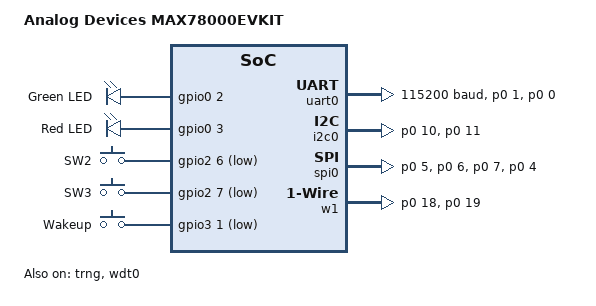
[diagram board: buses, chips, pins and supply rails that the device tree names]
/*
 * Copyright (c) 2025 Analog Devices, Inc.
 *
 * SPDX-License-Identifier: Apache-2.0
 */

/dts-v1/;

#include <adi/max32/max78000.dtsi>
#include <adi/max32/max78000-pinctrl.dtsi>
#include <zephyr/dt-bindings/gpio/adi-max32-gpio.h>
#include <zephyr/dt-bindings/input/input-event-codes.h>

/ {
	model = "Analog Devices MAX78000EVKIT";
	compatible = "adi,max78000evkit";

	chosen {
		zephyr,console = &uart0;
		zephyr,shell-uart = &uart0;
		zephyr,sram = &sram2;
		zephyr,flash = &flash0;
	};

	leds {
		compatible = "gpio-leds";

		led1: led_1 {
			gpios = <&gpio0 2 GPIO_ACTIVE_HIGH>;
			label = "Green LED";
		};

		led2: led_2 {
			gpios = <&gpio0 3 GPIO_ACTIVE_HIGH>;
			label = "Red LED";
		};
	};

	buttons {
		compatible = "gpio-keys";

		pb1: pb1 {
			gpios = <&gpio2 6 (GPIO_PULL_UP | GPIO_ACTIVE_LOW)>;
			label = "SW2";
			zephyr,code = <INPUT_KEY_0>;
		};

		pb2: pb2 {
			gpios = <&gpio2 7 (GPIO_PULL_UP | GPIO_ACTIVE_LOW)>;
			label = "SW3";
			zephyr,code = <INPUT_KEY_1>;
		};

		pb_wakeup: pb_wakeup {
			gpios = <&gpio3 1 (GPIO_PULL_UP | GPIO_ACTIVE_LOW
				| MAX32_GPIO_VSEL_VDDIOH)>;
			label = "Wakeup";
			zephyr,code = <INPUT_KEY_WAKEUP>;
		};
	};

	/* These aliases are provided for compatibility with samples */
	aliases {
		led0 = &led1;
		led1 = &led2;
		sw0 = &pb1;
		sw1 = &pb2;
		watchdog0 = &wdt0;
	};
};

&uart0 {
	pinctrl-0 = <&uart0a_tx_p0_1 &uart0a_rx_p0_0>;
	pinctrl-names = "default";
	current-speed = <115200>;
	data-bits = <8>;
	parity = "none";
	status = "okay";
};

&clk_ipo {
	status = "okay";
};

&clk_ibro {
	status = "okay";
};

&gpio0 {
	status = "okay";
};

&gpio1 {
	status = "okay";
};

&gpio2 {
	status = "okay";
};

&gpio3 {
	status = "okay";
};

&trng {
	status = "okay";
};

&i2c0 {
	status = "okay";
	pinctrl-0 = <&i2c0_scl_p0_10 &i2c0_sda_p0_11>;
	pinctrl-names = "default";
};

&spi0 {
	status = "okay";
	pinctrl-0 = <&spi0_mosi_p0_5 &spi0_miso_p0_6 &spi0_sck_p0_7 &spi0_ss0_p0_4>;
	pinctrl-names = "default";
};

&dma0 {
	status = "okay";
};

&wdt0 {
	status = "okay";
};

&w1 {
	pinctrl-0 = <&owm_io_p0_18 &owm_pe_p0_19>;
	pinctrl-names = "default";
};
